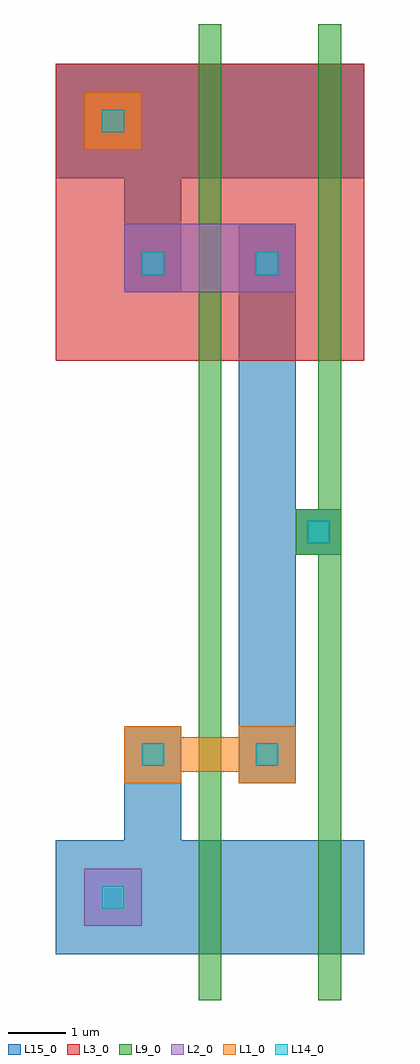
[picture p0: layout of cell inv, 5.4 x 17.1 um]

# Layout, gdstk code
import gdstk
lib = gdstk.Library(unit=1e-6, precision=1e-09)
def R(c, l, rs):  # rectangles x0, y0, x1, y1
    for r in rs: c.add(gdstk.rectangle(r[:2], r[2:], *l))
def P(c, l, *ps):  # polygons
    for p in ps: c.add(gdstk.Polygon(p, *l))
L1_0 = (1, 0)
L2_0 = (2, 0)
L3_0 = (3, 0)
L9_0 = (9, 0)
L14_0 = (14, 0)
L15_0 = (15, 0)

inv = lib.new_cell('inv')
R(inv, L1_0, [(1.2,6,2.2,7)])
P(inv, L1_0, [(1.9,-4.1),(1.9,-5.1),(2.9,-5.1),(2.9,-4.9),(3.9,-4.9),(3.9,-5.1),(4.9,-5.1),(4.9,-4.1),(3.9,-4.1),(3.9,-4.3),(2.9,-4.3),(2.9,-4.1)])
R(inv, L2_0, [(1.2,-7.6,2.2,-6.6), (1.9,3.5,4.9,4.7)])
R(inv, L3_0, [(0.7,2.3,6.1,7.5)])
R(inv, L9_0, [(3.2,-8.9,3.6,8.2)])
P(inv, L9_0, [(5.3,-1.1),(5.3,-8.9),(5.7,-8.9),(5.7,8.2),(5.3,8.2),(5.3,-0.3),(4.9,-0.3),(4.9,-1.1)])
R(inv, L14_0, [(1.5,-7.3,1.9,-6.9), (2.2,-4.8,2.6,-4.4), (4.2,-4.8,4.6,-4.4), (5.1,-0.9,5.5,-0.5), (2.2,3.8,2.6,4.2), (4.2,3.8,4.6,4.2), (1.5,6.3,1.9,6.7)])
P(inv, L15_0, [(2.9,5.5),(6.1,5.5),(6.1,7.5),(0.7,7.5),(0.7,5.5),(1.9,5.5),(1.9,3.5),(2.9,3.5)],
  [(2.9,-6.1),(2.9,-4.1),(1.9,-4.1),(1.9,-6.1),(0.7,-6.1),(0.7,-8.1),(6.1,-8.1),(6.1,-6.1)],
  [(4.9,-0.3),(4.9,4.7),(3.9,4.7),(3.9,-5.1),(4.9,-5.1),(4.9,-1.1),(5.7,-1.1),(5.7,-0.3)])

lib.write_gds('inv.gds')
